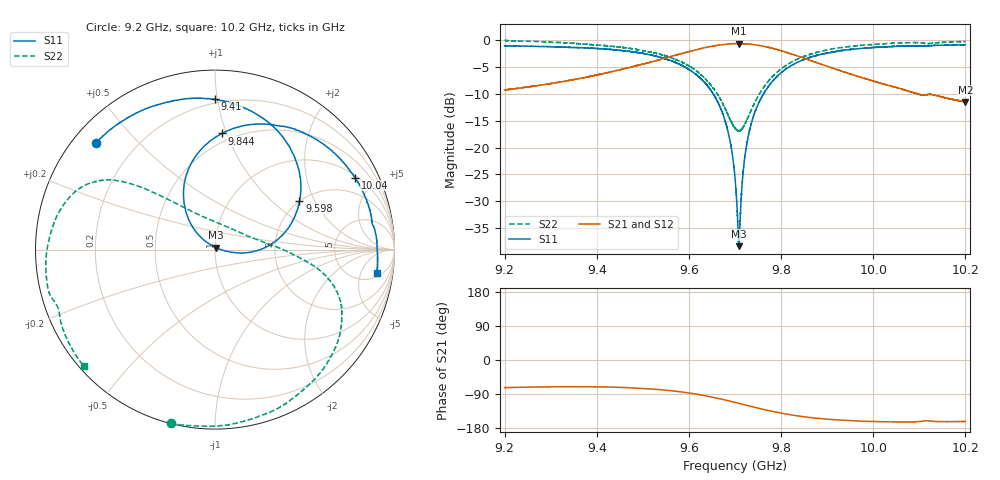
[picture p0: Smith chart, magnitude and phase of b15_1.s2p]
!Agilent Technologies,N5242A,MY51221714,A.09.90.19
!Agilent N5242A: A.09.90.19
!Date: Tuesday, March 26, 2024 16:52:00
!Correction: S11(Full 2 Port(1,2))
!S21(Full 2 Port(1,2))
!S12(Full 2 Port(1,2))
!S22(Full 2 Port(1,2))
!S2P File: Measurements: S11, S21, S12, S22:
# Hz S  dB  R 50
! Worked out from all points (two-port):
!   16001 points, 9.2 GHz to 10.2 GHz, reference 50 ohm
!   highest |S21| = -0.58 dB at 9.708 GHz (marker M1); lowest = -11.5 dB at 10.2 GHz (marker M2)
!   |S21| within 3 dB of the highest: 9.536646 GHz to 9.536796 GHz (149.9 kHz wide, 0.00157 % of centre); 9.537 GHz to 9.859 GHz (321.8 MHz wide, 3.32 % of centre)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
!   lowest |S11| = -38.4 dB at 9.709 GHz (marker M3), VSWR 1.02, Z = 50.4 + j1.13 ohm
!   |S11| at or under -10 dB: 9.652749 GHz to 9.652751 GHz (2.9 kHz wide, 3e-05 % of centre); 9.653 GHz to 9.762 GHz (108.8 MHz wide, 1.12 % of centre)
!   |S22| runs from -17.0 to 0.0 dB; largest |S21 - S12| = 0.012
!   S11 on the Smith chart (normalised r, x): 9.2 GHz: 0.07, +0.38; 9.41 GHz: 0.18, +0.98; 9.598 GHz: 2.00, +1.53; 9.844 GHz: 0.43, +0.96; 10.04 GHz: 1.11, +3.83; 10.2 GHz: 6, -10
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9.2e9  -1.01 138.0  -9.25 -73.0  -9.23 -73.8  -0.01 -104.2
9.2775e9  -1.13 121.3  -8.35 -71.2  -8.34 -71.9  -0.22 -83.1
9.366688e9  -1.35 100.8  -7.04 -70.5  -7.02 -71.2  -0.65 -59.7
9.409562e9  -1.54 90.0  -6.27 -71.0  -6.25 -71.7  -0.90 -49.1
9.533375e9  -3.05 53.7  -3.66 -77.7  -3.64 -78.3  -2.48 -21.8
9.598062e9  -5.32 29.8  -2.13 -86.7  -2.11 -87.3  -4.64 -10.7
9.667812e9  -12.46 -1.1  -0.84 -102.5  -0.82 -103.1  -10.90 7.5
9.688e9  -18.22 -8.7  -0.65 -108.4  -0.63 -108.9  -14.54 25.8
9.7e9  -25.63 -6.9  -0.60 -111.9  -0.59 -112.5  -16.36 47.7
9.707812e9  -37.28 49.0  -0.58 -114.3  -0.56 -114.9  -16.88 66.3
9.7085e9  -38.44 69.6  -0.59 -114.5  -0.57 -115.0  -16.91 67.8
9.711312e9  -32.90 116.3  -0.59 -115.4  -0.57 -115.9  -16.81 74.8
9.72375e9  -20.32 139.5  -0.64 -119.2  -0.61 -119.8  -15.25 101.5
9.745e9  -13.00 131.1  -0.84 -125.6  -0.82 -126.2  -11.23 124.6
9.784875e9  -7.31 112.3  -1.55 -136.5  -1.55 -137.1  -6.43 137.5
9.843875e9  -3.77 86.6  -3.14 -148.9  -3.14 -149.4  -3.17 146.0
9.866688e9  -3.05 77.9  -3.81 -152.3  -3.83 -152.8  -2.49 149.2
9.935e9  -1.84 55.2  -5.84 -159.2  -5.84 -159.8  -1.27 160.5
1.003338e10  -1.18 28.4  -8.41 -163.1  -8.40 -163.7  -0.56 -179.2
1.003856e10  -1.14 27.2  -8.52 -163.1  -8.53 -163.7  -0.54 -178.0
1.019988e10  -0.81 -8.3  -11.50 -162.2  -11.49 -162.8  -0.20 -138.6
1.02e10  -0.79 -8.3  -11.48 -162.2  -11.48 -162.8  -0.20 -138.5
